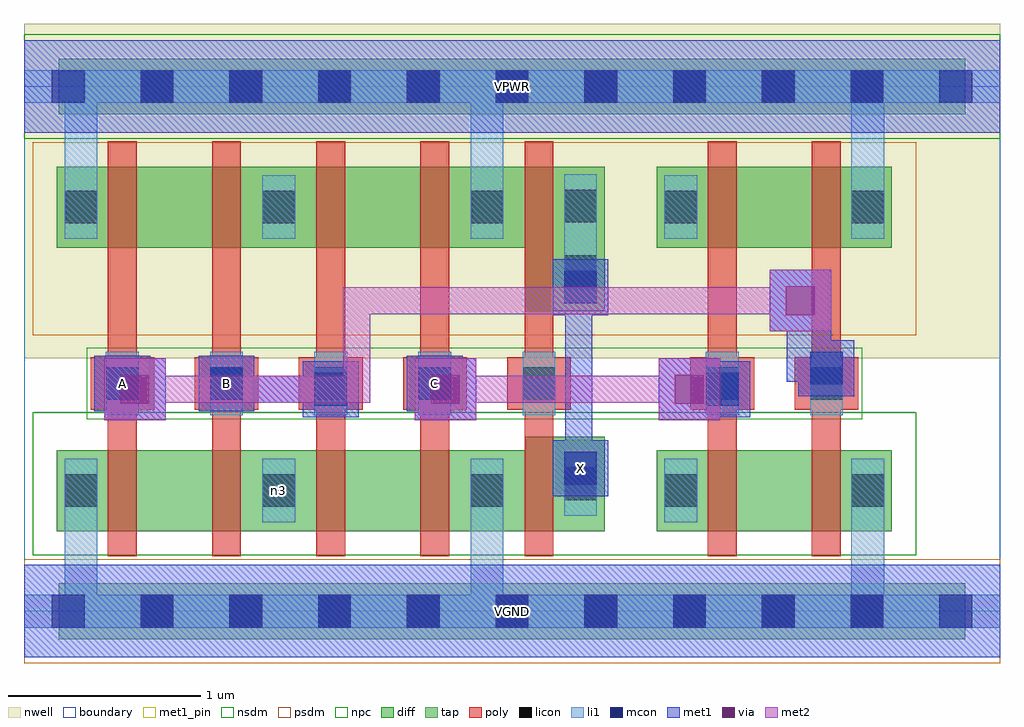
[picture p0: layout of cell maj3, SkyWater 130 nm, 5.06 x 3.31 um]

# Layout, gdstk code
import gdstk
lib = gdstk.Library(unit=1e-6, precision=1e-09)
def R(c, l, rs):  # rectangles x0, y0, x1, y1
    for r in rs: c.add(gdstk.rectangle(r[:2], r[2:], *l))
def A(c, l, x, y, w, h, nx, ny, dx, dy):  # array of equal rectangles
    R(c, l, [(x+i*dx, y+j*dy, x+i*dx+w, y+j*dy+h) for i in range(nx) for j in range(ny)])
nwell = (64, 20)
diff = (65, 20)
tap = (65, 44)
poly = (66, 20)
licon = (66, 44)
li1 = (67, 20)
mcon = (67, 44)
met1_pin = (68, 16)
met1 = (68, 20)
via = (68, 44)
met2 = (69, 20)
nsdm = (93, 44)
psdm = (94, 20)
npc = (95, 20)
boundary = (235, 4)

maj3 = lib.new_cell('maj3')
R(maj3, nwell, [(0,1.31,5.06,3.045)])
R(maj3, diff, [(0.17,0.415,2.595,0.835), (2.595,0.415,3.01,0.905), (3.28,0.415,4.5,0.835), (2.595,1.555,3.01,2.305), (0.17,1.885,2.595,2.305), (3.28,1.885,4.5,2.305)])
R(maj3, tap, [(0.18,-0.145,4.88,0.145), (0.18,2.575,4.88,2.865)])
A(maj3, poly, 0.435, 0.285, 0.15, 2.15, 5, 1, 0.54, 0)
A(maj3, poly, 0.345, 1.045, 0.33, 0.27, 5, 1, 0.54, 0)
R(maj3, poly, [(3.545,0.285,3.695,2.435), (4.085,0.285,4.235,2.435), (3.455,1.045,3.785,1.315), (3.995,1.045,4.325,1.315)])
A(maj3, licon, 0.605, -0.085, 0.17, 0.17, 9, 2, 0.46, 2.72)
A(maj3, licon, 0.425, 1.095, 0.17, 0.17, 5, 1, 0.54, 0)
R(maj3, licon, [(0.21,0.54,0.38,0.71), (1.235,0.54,1.405,0.71), (2.315,0.54,2.485,0.71), (3.32,0.54,3.49,0.71), (4.29,0.54,4.46,0.71), (2.8,0.575,2.97,0.745), (3.535,1.095,3.705,1.265), (4.075,1.095,4.245,1.265), (2.8,1.675,2.97,1.845), (0.21,2.01,0.38,2.18), (1.235,2.01,1.405,2.18), (2.315,2.01,2.485,2.18), (3.32,2.01,3.49,2.18), (4.29,2.01,4.46,2.18), (2.8,2.015,2.97,2.185)])
A(maj3, li1, 0.425, 1.015, 0.17, 0.33, 5, 1, 0.54, 0)
R(maj3, li1, [(0,-0.085,5.06,0.085), (0.21,-0.085,0.38,0.79), (2.315,-0.085,2.485,0.79), (4.29,-0.085,4.46,0.79), (0.21,0.46,0.38,0.79), (1.235,0.46,1.405,0.79), (2.315,0.46,2.485,0.79), (3.32,0.46,3.49,0.79), (4.29,0.46,4.46,0.79), (2.8,0.495,2.97,0.825), (3.535,1.015,3.705,1.345), (4.075,1.015,4.245,1.345), (2.8,1.595,2.97,2.265), (0.21,1.93,0.38,2.26), (0.21,1.93,0.38,2.805), (1.235,1.93,1.405,2.26), (2.315,1.93,2.485,2.26), (2.315,1.93,2.485,2.805), (3.32,1.93,3.49,2.26), (4.29,1.93,4.46,2.26), (4.29,1.93,4.46,2.805), (0,2.635,5.06,2.805)])
A(maj3, mcon, 0.145, -0.085, 0.17, 0.17, 11, 2, 0.46, 2.72)
R(maj3, mcon, [(2.8,0.655,2.97,0.825), (1.505,1.065,1.675,1.235), (3.535,1.065,3.705,1.235), (0.425,1.095,0.595,1.265), (0.965,1.095,1.135,1.265), (2.045,1.095,2.215,1.265), (4.075,1.175,4.245,1.345), (2.8,1.595,2.97,1.765)])
R(maj3, met1_pin, [(0,-0.24,5.06,0.24), (2.74,0.595,3.03,0.885), (0.365,1.035,0.655,1.325), (0.905,1.035,1.195,1.325), (1.985,1.035,2.275,1.325), (0,2.48,5.06,2.96)])
R(maj3, met1, [(0,-0.24,5.06,0.24), (2.74,0.595,3.03,0.885), (2.805,0.67,2.955,0.81), (2.805,0.67,2.945,0.99), (2.805,0.85,2.945,1.565), (0.415,0.99,0.735,1.31), (2.025,0.99,2.345,1.31), (3.29,0.99,3.61,1.31), (1.445,1.005,1.735,1.295), (3.475,1.005,3.765,1.295), (0.365,1.035,0.655,1.325), (0.905,1.035,1.195,1.325), (1.985,1.035,2.275,1.325), (0.505,1.08,0.645,1.22), (0.965,1.08,1.105,1.22), (0.965,1.08,1.565,1.22), (1.425,1.08,1.66,1.22), (2.115,1.08,2.255,1.22), (3.38,1.08,3.69,1.22), (4.015,1.115,4.305,1.405), (3.955,1.19,4.23,1.33), (3.955,1.19,4.095,1.45), (3.955,1.31,4.095,1.68), (3.955,1.33,4.185,1.45), (4.015,1.405,4.185,1.45), (2.805,1.425,2.945,1.75), (3.865,1.45,4.185,1.77), (2.74,1.535,3.03,1.825), (2.805,1.61,2.955,1.75), (0,2.48,5.06,2.96)])
R(maj3, via, [(0.5,1.075,0.65,1.225), (2.11,1.075,2.26,1.225), (3.375,1.075,3.525,1.225), (3.95,1.535,4.1,1.685)])
R(maj3, met2, [(0.415,0.99,0.735,1.31), (2.025,0.99,2.345,1.31), (3.29,0.99,3.61,1.31), (0.505,1.08,1.795,1.22), (1.655,1.08,1.795,1.68), (2.115,1.08,3.52,1.22), (3.865,1.45,4.185,1.77), (1.655,1.54,4.095,1.68)])
R(maj3, nsdm, [(0.045,0.29,4.625,1.03), (0,2.45,5.06,2.99)])
R(maj3, psdm, [(0,-0.27,5.06,0.27), (0.045,1.43,4.625,2.43)])
R(maj3, npc, [(0.325,0.995,4.345,1.365)])
R(maj3, boundary, [(0,0,5.06,2.72)])
maj3.add(gdstk.Label('n3', (1.32,0.625), layer=67, texttype=5))
maj3.add(gdstk.Label('A', (0.51,1.18), layer=68, texttype=5))
maj3.add(gdstk.Label('B', (1.05,1.18), layer=68, texttype=5))
maj3.add(gdstk.Label('C', (2.13,1.18), layer=68, texttype=5))
maj3.add(gdstk.Label('X', (2.885,0.74), layer=68, texttype=5))
maj3.add(gdstk.Label('VPWR', (2.53,2.72), layer=68, texttype=5))
maj3.add(gdstk.Label('VGND', (2.53,0), layer=68, texttype=5))
maj3.add(gdstk.Label('A', (0.51,1.18), layer=68, texttype=16))
maj3.add(gdstk.Label('B', (1.05,1.18), layer=68, texttype=16))
maj3.add(gdstk.Label('C', (2.13,1.18), layer=68, texttype=16))
maj3.add(gdstk.Label('X', (2.885,0.74), layer=68, texttype=16))
maj3.add(gdstk.Label('VPWR', (2.53,2.72), layer=68, texttype=16))
maj3.add(gdstk.Label('VGND', (2.53,0), layer=68, texttype=16))

lib.write_gds('maj3.gds')
